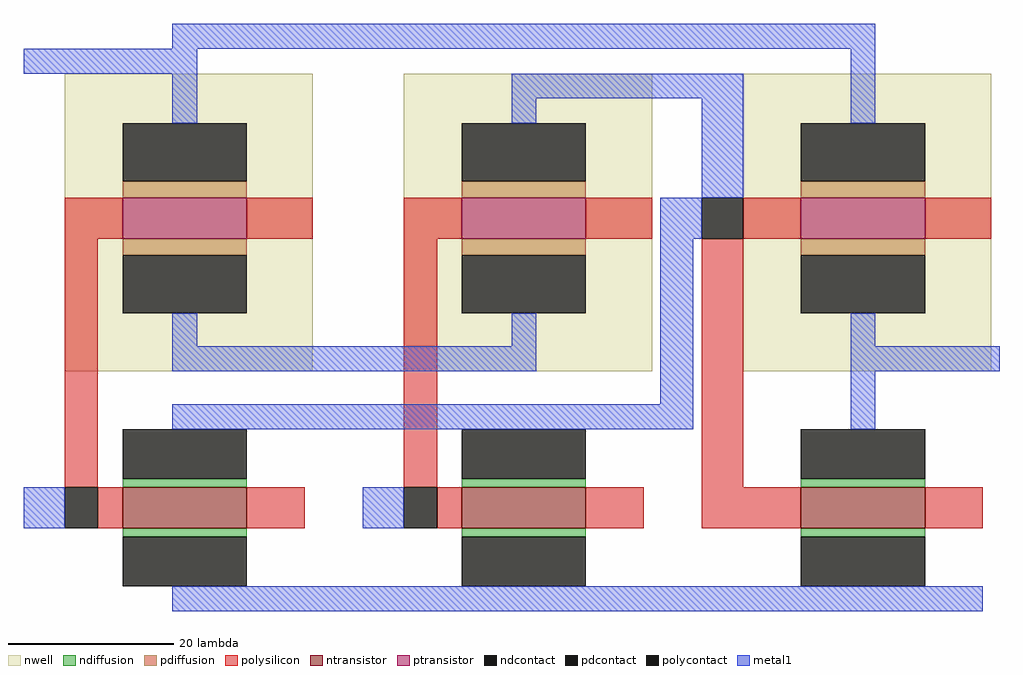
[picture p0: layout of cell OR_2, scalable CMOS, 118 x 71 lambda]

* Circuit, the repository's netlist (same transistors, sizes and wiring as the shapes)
* SPICE3 file created from OR_2.ext - technology: scmos

.option scale=0.09u

M1000 VDD a_n35_n16# OUT w_40_n2# pfet w=15 l=5
+  ad=270 pd=96 as=135 ps=48
M1001 a_n35_n16# B GND Gnd nfet w=15 l=5
+  ad=210 pd=88 as=315 ps=132
M1002 a_n35_n16# B a_n35_5# w_n1_n2# pfet w=15 l=5
+  ad=135 pd=48 as=270 ps=96
M1003 OUT a_n35_n16# GND Gnd nfet w=15 l=5
+  ad=105 pd=44 as=0 ps=0
M1004 VDD A a_n35_5# w_n42_n2# pfet w=15 l=5
+  ad=0 pd=0 as=0 ps=0
M1005 a_n35_n16# A GND Gnd nfet w=15 l=5
+  ad=0 pd=0 as=0 ps=0

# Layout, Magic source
magic
tech scmos
<< nwell >>
rect -42 -2 -12 34
rect -1 -2 29 34
rect 40 -2 70 34
<< ntransistor >>
rect -35 -21 -20 -16
rect 6 -21 21 -16
rect 47 -21 62 -16
<< ptransistor >>
rect -35 14 -20 19
rect 6 14 21 19
rect 47 14 62 19
<< ndiffusion >>
rect -35 -16 -20 -15
rect 6 -16 21 -15
rect 47 -16 62 -15
rect -35 -22 -20 -21
rect 6 -22 21 -21
rect 47 -22 62 -21
<< pdiffusion >>
rect -35 19 -20 21
rect 6 19 21 21
rect 47 19 62 21
rect -35 12 -20 14
rect 6 12 21 14
rect 47 12 62 14
<< ndcontact >>
rect -35 -15 -20 -9
rect 6 -15 21 -9
rect 47 -15 62 -9
rect -35 -28 -20 -22
rect 6 -28 21 -22
rect 47 -28 62 -22
<< pdcontact >>
rect -35 21 -20 28
rect 6 21 21 28
rect 47 21 62 28
rect -35 5 -20 12
rect 6 5 21 12
rect 47 5 62 12
<< polysilicon >>
rect -42 14 -35 19
rect -20 14 -12 19
rect -1 14 6 19
rect 21 14 29 19
rect 40 14 47 19
rect 62 14 70 19
rect -42 -16 -38 14
rect -1 -16 3 14
rect 35 -16 40 14
rect -38 -21 -35 -16
rect -20 -21 -13 -16
rect 3 -21 6 -16
rect 21 -21 28 -16
rect 35 -21 47 -16
rect 62 -21 69 -16
<< polycontact >>
rect 35 14 40 19
rect -42 -21 -38 -16
rect -1 -21 3 -16
<< metal1 >>
rect -29 37 56 40
rect -47 34 -26 37
rect -29 28 -26 34
rect 12 31 40 34
rect 12 28 15 31
rect 35 19 40 31
rect 53 28 56 37
rect 30 14 35 19
rect -29 1 -26 5
rect 12 1 15 5
rect -29 -2 15 1
rect 30 -6 34 14
rect -29 -9 34 -6
rect 53 1 56 5
rect 53 -2 71 1
rect 53 -9 56 -2
rect -47 -21 -42 -16
rect -6 -21 -1 -16
rect -29 -31 69 -28
<< end >>
